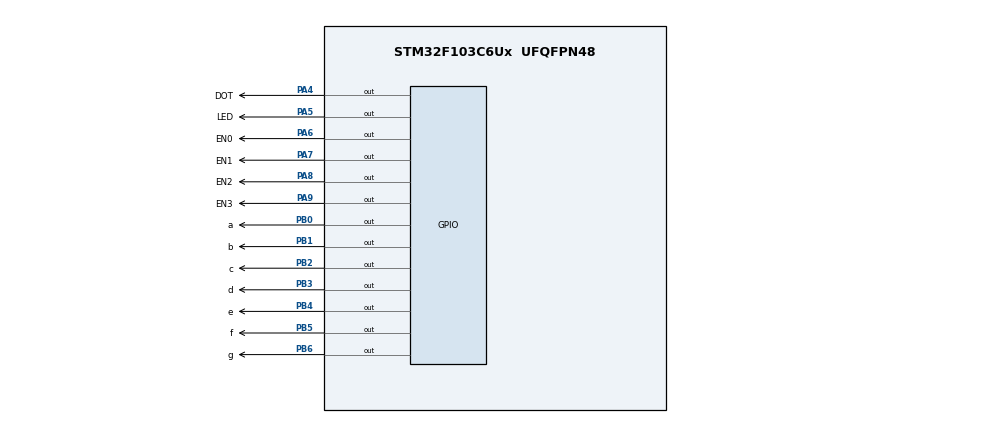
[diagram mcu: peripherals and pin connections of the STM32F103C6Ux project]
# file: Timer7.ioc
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Mcu.Family=STM32F1
Mcu.Name=STM32F103C6Ux
Mcu.Package=UFQFPN48
NVIC.PriorityGroup=NVIC_PRIORITYGROUP_4
NVIC.TIM2_IRQn=true\:0\:0\:false\:false\:true\:true\:true
PA4.GPIO_Label=DOT
PA4.Signal=GPIO_Output
PA5.GPIO_Label=LED
PA5.Signal=GPIO_Output
PA6.GPIO_Label=EN0
PA6.Signal=GPIO_Output
PA7.GPIO_Label=EN1
PA7.Signal=GPIO_Output
PA8.GPIO_Label=EN2
PA8.Signal=GPIO_Output
PA9.GPIO_Label=EN3
PA9.Signal=GPIO_Output
PB0.GPIO_Label=a
PB0.Signal=GPIO_Output
PB1.GPIO_Label=b
PB1.Signal=GPIO_Output
PB2.GPIO_Label=c
PB2.Signal=GPIO_Output
PB3.GPIO_Label=d
PB3.Signal=GPIO_Output
PB4.GPIO_Label=e
PB4.Signal=GPIO_Output
PB5.GPIO_Label=f
PB5.Signal=GPIO_Output
PB6.GPIO_Label=g
PB6.Signal=GPIO_Output
ProjectManager.HeapSize=0x200
ProjectManager.StackSize=0x400
ProjectManager.TargetToolchain=STM32CubeIDE
RCC.APB1Freq_Value=8000000
RCC.APB2Freq_Value=8000000
TIM2.Period=10
TIM2.Prescaler=7999
VP_SYS_VS_ND.Mode=No_Debug
VP_TIM2_VS_ClockSourceINT.Mode=Internal
board=custom

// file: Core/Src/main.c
/* USER CODE BEGIN Header */
/**
  ******************************************************************************
  * @file           : main.c
  * @brief          : Main program body
  ******************************************************************************
  * @attention
  *
  * <h2><center>&copy; Copyright (c) 2022 STMicroelectronics.
  * All rights reserved.</center></h2>
  *
  * This software component is licensed by ST under BSD 3-Clause license,
  * the "License"; You may not use this file except in compliance with the
  * License. You may obtain a copy of the License at:
  *                        opensource.org/licenses/BSD-3-Clause
  *
  ******************************************************************************
  */
/* USER CODE END Header */
#include "main.h"

/* USER CODE BEGIN Includes */
#include "software_timer.h"

/* USER CODE END Includes */

TIM_HandleTypeDef htim2;

void SystemClock_Config(void);
static void MX_GPIO_Init(void);
static void MX_TIM2_Init(void);

/* USER CODE BEGIN 0 */

void HAL_TIM_PeriodElapsedCallback(TIM_HandleTypeDef *htim){
	timerRun();
}

void display7SEG(int num){
 	  HAL_GPIO_WritePin ( a_GPIO_Port , a_Pin , GPIO_PIN_RESET ) ;
 	  HAL_GPIO_WritePin ( b_GPIO_Port , b_Pin , GPIO_PIN_RESET ) ;
 	  HAL_GPIO_WritePin ( c_GPIO_Port , c_Pin , GPIO_PIN_RESET ) ;
 	  HAL_GPIO_WritePin ( d_GPIO_Port , d_Pin , GPIO_PIN_RESET ) ;
 	  HAL_GPIO_WritePin ( e_GPIO_Port , e_Pin , GPIO_PIN_RESET ) ;
 	  HAL_GPIO_WritePin ( f_GPIO_Port , f_Pin , GPIO_PIN_RESET ) ;
 	  HAL_GPIO_WritePin ( g_GPIO_Port , g_Pin , GPIO_PIN_RESET ) ;
 	  if(num == 1 || num == 4)  HAL_GPIO_WritePin ( a_GPIO_Port , a_Pin , GPIO_PIN_SET ) ;
 	  if(num == 5 || num == 6)  HAL_GPIO_WritePin ( b_GPIO_Port , b_Pin , GPIO_PIN_SET ) ;
 	  if(num == 2)  HAL_GPIO_WritePin ( c_GPIO_Port , c_Pin , GPIO_PIN_SET ) ;
 	  if(num == 1 || num == 4 || num == 7)  HAL_GPIO_WritePin ( d_GPIO_Port , d_Pin , GPIO_PIN_SET ) ;
 	  if(num != 0 && num != 2 && num != 6 && num != 8)  HAL_GPIO_WritePin ( e_GPIO_Port , e_Pin , GPIO_PIN_SET ) ;
 	  if(num == 1 || num == 2 || num == 3 || num == 7)  HAL_GPIO_WritePin ( f_GPIO_Port , f_Pin , GPIO_PIN_SET ) ;
 	  if(num == 0 || num == 1 || num == 7)  HAL_GPIO_WritePin ( g_GPIO_Port , g_Pin , GPIO_PIN_SET ) ;
   }
int led_buffer [4] = {0 , 1 , 2 , 3};
void update7SEG ( int index ) {
   switch ( index ) {
	   case 0:
	   // Display the first 7 SEG with led_buffer [0]
		   HAL_GPIO_WritePin(EN0_GPIO_Port, EN0_Pin, GPIO_PIN_RESET );
		   HAL_GPIO_WritePin(EN1_GPIO_Port, EN1_Pin, GPIO_PIN_SET );
		   HAL_GPIO_WritePin(EN2_GPIO_Port, EN2_Pin, GPIO_PIN_SET );
		   HAL_GPIO_WritePin(EN3_GPIO_Port, EN3_Pin, GPIO_PIN_SET );
		   display7SEG(led_buffer[0]);
		   break ;
	   case 1:
	   // Display the second 7 SEG with led_buffer [1]
		   HAL_GPIO_WritePin(EN0_GPIO_Port, EN0_Pin, GPIO_PIN_SET );
		   HAL_GPIO_WritePin(EN1_GPIO_Port, EN1_Pin, GPIO_PIN_RESET );
		   HAL_GPIO_WritePin(EN2_GPIO_Port, EN2_Pin, GPIO_PIN_SET );
		   HAL_GPIO_WritePin(EN3_GPIO_Port, EN3_Pin, GPIO_PIN_SET );
		   display7SEG(led_buffer[1]);
		   break ;
	   case 2:
	   // Display the third 7 SEG with led_buffer [2]
		   HAL_GPIO_WritePin(EN0_GPIO_Port, EN0_Pin, GPIO_PIN_SET );
		   HAL_GPIO_WritePin(EN1_GPIO_Port, EN1_Pin, GPIO_PIN_SET );
		   HAL_GPIO_WritePin(EN2_GPIO_Port, EN2_Pin, GPIO_PIN_RESET );
		   HAL_GPIO_WritePin(EN3_GPIO_Port, EN3_Pin, GPIO_PIN_SET );
		   display7SEG(led_buffer[2]);
		   break ;
	   case 3:
	   // Display the forth 7 SEG with led_buffer [3]
		   HAL_GPIO_WritePin(EN0_GPIO_Port, EN0_Pin, GPIO_PIN_SET );
		   HAL_GPIO_WritePin(EN1_GPIO_Port, EN1_Pin, GPIO_PIN_SET );
		   HAL_GPIO_WritePin(EN2_GPIO_Port, EN2_Pin, GPIO_PIN_SET );
		   HAL_GPIO_WritePin(EN3_GPIO_Port, EN3_Pin, GPIO_PIN_RESET );
		   display7SEG(led_buffer[3]);
		   break ;
	   default :
		   break ;
		   }
	   }

const int MAX_LED = 4;
int index_led = 0;

void updateClockBuffer(int hour, int minute){
	if(hour < 10)
	{
		led_buffer[0] = 0;
		led_buffer[1] = hour;
	}
	else {
		led_buffer[0] = hour/10;
		led_buffer[1] = hour%10;
	}
	if(minute < 10)
	{
		led_buffer[2] = 0;
		led_buffer[3] = minute;
	}
	else {
		led_buffer[2] = minute/10;
		led_buffer[3] = minute%10;
	}
	if(index_led >= MAX_LED) index_led = 0;
	update7SEG(index_led);
	index_led++;
}
/* USER CODE END 0 */

int main(void)
{

  /* MCU Configuration--------------------------------------------------------*/

  /* Reset of all peripherals, Initializes the Flash interface and the Systick. */
  HAL_Init();

  /* Configure the system clock */
  SystemClock_Config();

  /* Initialize all configured peripherals */
  MX_GPIO_Init();
  MX_TIM2_Init();
  /* USER CODE BEGIN 2 */
  HAL_TIM_Base_Start_IT (& htim2 ) ;
  /* USER CODE END 2 */

  /* Infinite loop */
  /* USER CODE BEGIN WHILE */
  int hour = 15 , minute = 8 , second = 50;
  setTimer1(1);
  setTimer2(1);
  while (1)
  {
    /* USER CODE END WHILE */
    /* USER CODE BEGIN 3 */
	  if(timer1_flag == 1){
		  updateClockBuffer(hour, minute);
		  setTimer1(25);
	  }
	  if(timer2_flag == 1){
		  second ++;
		  if ( second >= 60) {
			  second = 0;
			  minute ++;
		  }
		  if( minute >= 60) {
			  minute = 0;
			  hour ++;
		  }
		  if( hour >=24) {
			  hour = 0;
		  }
		  HAL_GPIO_TogglePin(DOT_GPIO_Port, DOT_Pin);
		  setTimer2(100);
	  }
  }
  /* USER CODE END 3 */
}

void SystemClock_Config(void)
{
  RCC_OscInitTypeDef RCC_OscInitStruct = {0};
  RCC_ClkInitTypeDef RCC_ClkInitStruct = {0};

  /** Initializes the RCC Oscillators according to the specified parameters
  * in the RCC_OscInitTypeDef structure.
  */
  RCC_OscInitStruct.OscillatorType = RCC_OSCILLATORTYPE_HSI;
  RCC_OscInitStruct.HSIState = RCC_HSI_ON;
  RCC_OscInitStruct.HSICalibrationValue = RCC_HSICALIBRATION_DEFAULT;
  RCC_OscInitStruct.PLL.PLLState = RCC_PLL_NONE;
  if (HAL_RCC_OscConfig(&RCC_OscInitStruct) != HAL_OK)
  {
    Error_Handler();
  }
  /** Initializes the CPU, AHB and APB buses clocks
  */
  RCC_ClkInitStruct.ClockType = RCC_CLOCKTYPE_HCLK|RCC_CLOCKTYPE_SYSCLK
                              |RCC_CLOCKTYPE_PCLK1|RCC_CLOCKTYPE_PCLK2;
  RCC_ClkInitStruct.SYSCLKSource = RCC_SYSCLKSOURCE_HSI;
  RCC_ClkInitStruct.AHBCLKDivider = RCC_SYSCLK_DIV1;
  RCC_ClkInitStruct.APB1CLKDivider = RCC_HCLK_DIV1;
  RCC_ClkInitStruct.APB2CLKDivider = RCC_HCLK_DIV1;

  if (HAL_RCC_ClockConfig(&RCC_ClkInitStruct, FLASH_LATENCY_0) != HAL_OK)
  {
    Error_Handler();
  }
}

static void MX_TIM2_Init(void)
{

  TIM_ClockConfigTypeDef sClockSourceConfig = {0};
  TIM_MasterConfigTypeDef sMasterConfig = {0};

  htim2.Instance = TIM2;
  htim2.Init.Prescaler = 7999;
  htim2.Init.CounterMode = TIM_COUNTERMODE_UP;
  htim2.Init.Period = 10;
  htim2.Init.ClockDivision = TIM_CLOCKDIVISION_DIV1;
  htim2.Init.AutoReloadPreload = TIM_AUTORELOAD_PRELOAD_DISABLE;
  if (HAL_TIM_Base_Init(&htim2) != HAL_OK)
  {
    Error_Handler();
  }
  sClockSourceConfig.ClockSource = TIM_CLOCKSOURCE_INTERNAL;
  if (HAL_TIM_ConfigClockSource(&htim2, &sClockSourceConfig) != HAL_OK)
  {
    Error_Handler();
  }
  sMasterConfig.MasterOutputTrigger = TIM_TRGO_RESET;
  sMasterConfig.MasterSlaveMode = TIM_MASTERSLAVEMODE_DISABLE;
  if (HAL_TIMEx_MasterConfigSynchronization(&htim2, &sMasterConfig) != HAL_OK)
  {
    Error_Handler();
  }

}

static void MX_GPIO_Init(void)
{
  GPIO_InitTypeDef GPIO_InitStruct = {0};

  /* GPIO Ports Clock Enable */
  __HAL_RCC_GPIOA_CLK_ENABLE();
  __HAL_RCC_GPIOB_CLK_ENABLE();

  /*Configure GPIO pin Output Level */
  HAL_GPIO_WritePin(GPIOA, DOT_Pin|LED_Pin|EN0_Pin|EN1_Pin
                          |EN2_Pin|EN3_Pin, GPIO_PIN_RESET);

  /*Configure GPIO pin Output Level */
  HAL_GPIO_WritePin(GPIOB, a_Pin|b_Pin|c_Pin|d_Pin
                          |e_Pin|f_Pin|g_Pin, GPIO_PIN_RESET);

  /*Configure GPIO pins : DOT_Pin LED_Pin EN0_Pin EN1_Pin
                           EN2_Pin EN3_Pin */
  GPIO_InitStruct.Pin = DOT_Pin|LED_Pin|EN0_Pin|EN1_Pin
                          |EN2_Pin|EN3_Pin;
  GPIO_InitStruct.Mode = GPIO_MODE_OUTPUT_PP;
  GPIO_InitStruct.Pull = GPIO_NOPULL;
  GPIO_InitStruct.Speed = GPIO_SPEED_FREQ_LOW;
  HAL_GPIO_Init(GPIOA, &GPIO_InitStruct);

  /*Configure GPIO pins : a_Pin b_Pin c_Pin d_Pin
                           e_Pin f_Pin g_Pin */
  GPIO_InitStruct.Pin = a_Pin|b_Pin|c_Pin|d_Pin
                          |e_Pin|f_Pin|g_Pin;
  GPIO_InitStruct.Mode = GPIO_MODE_OUTPUT_PP;
  GPIO_InitStruct.Pull = GPIO_NOPULL;
  GPIO_InitStruct.Speed = GPIO_SPEED_FREQ_LOW;
  HAL_GPIO_Init(GPIOB, &GPIO_InitStruct);

}

void Error_Handler(void)
{
  __disable_irq();
  while (1)
  {
  }
}

/************************ (C) COPYRIGHT STMicroelectronics *****END OF FILE****/
